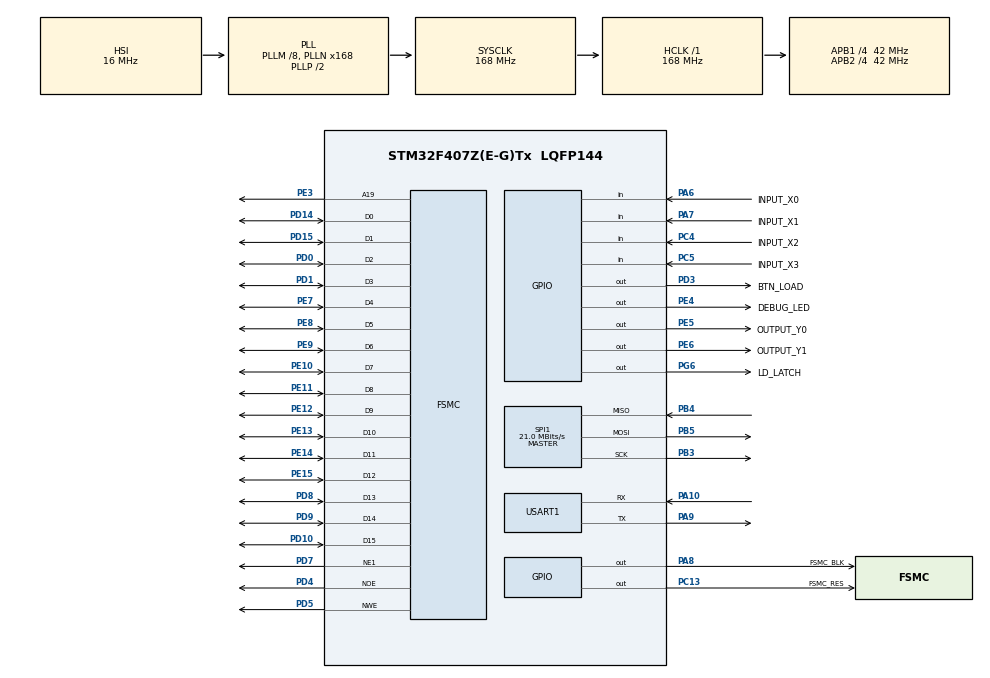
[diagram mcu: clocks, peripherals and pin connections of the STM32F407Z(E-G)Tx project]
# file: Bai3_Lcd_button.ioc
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FSMC.AddressSetupTime1=0xf
FSMC.BusTurnAroundDuration1=0
FSMC.DataSetupTime1=60
FSMC.ExtendedAddressSetupTime1=8
FSMC.ExtendedBusTurnAroundDuration1=0
FSMC.ExtendedDataSetupTime1=9
FSMC.ExtendedMode1=FSMC_EXTENDED_MODE_ENABLE
Mcu.Family=STM32F4
Mcu.Name=STM32F407Z(E-G)Tx
Mcu.Package=LQFP144
NVIC.PriorityGroup=NVIC_PRIORITYGROUP_4
NVIC.TIM2_IRQn=true\:0\:0\:false\:false\:true\:true\:true\:true
NVIC.USART1_IRQn=true\:0\:0\:false\:false\:true\:true\:true\:true
PA10.Mode=Asynchronous
PA10.Signal=USART1_RX
PA13.Mode=Serial_Wire
PA13.Signal=SYS_JTMS-SWDIO
PA14.Mode=Serial_Wire
PA14.Signal=SYS_JTCK-SWCLK
PA6.GPIO_Label=INPUT_X0
PA6.Signal=GPIO_Input
PA7.GPIO_Label=INPUT_X1
PA7.Signal=GPIO_Input
PA8.GPIO_Label=FSMC_BLK
PA8.Signal=GPIO_Output
PA9.Mode=Asynchronous
PA9.Signal=USART1_TX
PB3.Mode=Full_Duplex_Master
PB3.Signal=SPI1_SCK
PB4.Mode=Full_Duplex_Master
PB4.Signal=SPI1_MISO
PB5.Mode=Full_Duplex_Master
PB5.Signal=SPI1_MOSI
PC13-ANTI_TAMP.GPIO_Label=FSMC_RES
PC13-ANTI_TAMP.Signal=GPIO_Output
PC4.GPIO_Label=INPUT_X2
PC4.Signal=GPIO_Input
PC5.GPIO_Label=INPUT_X3
PC5.Signal=GPIO_Input
PD0.Signal=FSMC_D2_DA2
PD1.Signal=FSMC_D3_DA3
PD10.Signal=FSMC_D15_DA15
PD14.Signal=FSMC_D0_DA0
PD15.Signal=FSMC_D1_DA1
PD3.GPIO_Label=BTN_LOAD
PD3.Signal=GPIO_Output
PD4.Signal=FSMC_NOE
PD5.Signal=FSMC_NWE
PD7.Mode=NorPsramChipSelect1_1
PD7.Signal=FSMC_NE1
PD8.Signal=FSMC_D13_DA13
PD9.Signal=FSMC_D14_DA14
PE10.Signal=FSMC_D7_DA7
PE11.Signal=FSMC_D8_DA8
PE12.Signal=FSMC_D9_DA9
PE13.Signal=FSMC_D10_DA10
PE14.Signal=FSMC_D11_DA11
PE15.Signal=FSMC_D12_DA12
PE3.Signal=FSMC_A19
PE4.GPIO_Label=DEBUG_LED
PE4.Signal=GPIO_Output
PE5.GPIO_Label=OUTPUT_Y0
PE5.Signal=GPIO_Output
PE6.GPIO_Label=OUTPUT_Y1
PE6.Signal=GPIO_Output
PE7.Signal=FSMC_D4_DA4
PE8.Signal=FSMC_D5_DA5
PE9.Signal=FSMC_D6_DA6
PG6.GPIO_Label=LD_LATCH
PG6.Signal=GPIO_Output
PH0-OSC_IN.Mode=HSE-External-Oscillator
PH0-OSC_IN.Signal=RCC_OSC_IN
PH1-OSC_OUT.Mode=HSE-External-Oscillator
PH1-OSC_OUT.Signal=RCC_OSC_OUT
ProjectManager.HeapSize=0x200
ProjectManager.StackSize=0x400
ProjectManager.TargetToolchain=STM32CubeIDE
RCC.48MHZClocksFreq_Value=84000000
RCC.AHBFreq_Value=168000000
RCC.APB1CLKDivider=RCC_HCLK_DIV4
RCC.APB1Freq_Value=42000000
RCC.APB1TimFreq_Value=84000000
RCC.APB2CLKDivider=RCC_HCLK_DIV4
RCC.APB2Freq_Value=42000000
RCC.APB2TimFreq_Value=84000000
RCC.CortexFreq_Value=168000000
RCC.HCLKFreq_Value=168000000
RCC.HSE_VALUE=8000000
RCC.HSI_VALUE=16000000
RCC.LSE_VALUE=32768
RCC.PLLM=8
RCC.PLLN=168
RCC.SYSCLKFreq_VALUE=168000000
RCC.SYSCLKSource=RCC_SYSCLKSOURCE_PLLCLK
RCC.VCOOutputFreq_Value=336000000
SH.FSMC_A19.0=FSMC_A19,A19_1
SH.FSMC_D0_DA0.0=FSMC_D0,16b-d1
SH.FSMC_D10_DA10.0=FSMC_D10,16b-d1
SH.FSMC_D11_DA11.0=FSMC_D11,16b-d1
SH.FSMC_D12_DA12.0=FSMC_D12,16b-d1
SH.FSMC_D13_DA13.0=FSMC_D13,16b-d1
SH.FSMC_D14_DA14.0=FSMC_D14,16b-d1
SH.FSMC_D15_DA15.0=FSMC_D15,16b-d1
SH.FSMC_D1_DA1.0=FSMC_D1,16b-d1
SH.FSMC_D2_DA2.0=FSMC_D2,16b-d1
SH.FSMC_D3_DA3.0=FSMC_D3,16b-d1
SH.FSMC_D4_DA4.0=FSMC_D4,16b-d1
SH.FSMC_D5_DA5.0=FSMC_D5,16b-d1
SH.FSMC_D6_DA6.0=FSMC_D6,16b-d1
SH.FSMC_D7_DA7.0=FSMC_D7,16b-d1
SH.FSMC_D8_DA8.0=FSMC_D8,16b-d1
SH.FSMC_D9_DA9.0=FSMC_D9,16b-d1
SH.FSMC_NOE.0=FSMC_NOE,Lcd1
SH.FSMC_NWE.0=FSMC_NWE,Lcd1
SPI1.BaudRatePrescaler=SPI_BAUDRATEPRESCALER_2
SPI1.CalculateBaudRate=21.0 MBits/s
SPI1.Direction=SPI_DIRECTION_2LINES
SPI1.Mode=SPI_MODE_MASTER
SPI1.VirtualType=VM_MASTER
TIM2.Period=100-1
TIM2.Prescaler=840-1
USART1.VirtualMode=VM_ASYNC
VP_TIM2_VS_ClockSourceINT.Mode=Internal
board=custom

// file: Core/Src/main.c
/* USER CODE BEGIN Header */
/**
  ******************************************************************************
  * @file           : main.c
  * @brief          : Main program body
  ******************************************************************************
  * @attention
  *
  * <h2><center>&copy; Copyright (c) 2023 STMicroelectronics.
  * All rights reserved.</center></h2>
  *
  * This software component is licensed by ST under BSD 3-Clause license,
  * the "License"; You may not use this file except in compliance with the
  * License. You may obtain a copy of the License at:
  *                        opensource.org/licenses/BSD-3-Clause
  *
  ******************************************************************************
  */
/* USER CODE END Header */
#include "main.h"
#include "spi.h"
#include "tim.h"
#include "usart.h"
#include "gpio.h"
#include "fsmc.h"

/* USER CODE BEGIN Includes */
#include "software_timer.h"
#include "led_7seg.h"
#include "button.h"
#include "lcd.h"
#include "picture.h"
#include "fsm.h"
#include "fsm_traffic.h"
/* USER CODE END Includes */

void SystemClock_Config(void);
/* USER CODE BEGIN PFP */
void system_init();
void test_LedDebug();
void test_LedY0();
void test_LedY1();
void test_7seg();
void test_button();
void test_lcd();
/* USER CODE END PFP */

int main(void)
{

  /* MCU Configuration--------------------------------------------------------*/

  /* Reset of all peripherals, Initializes the Flash interface and the Systick. */
  HAL_Init();

  /* Configure the system clock */
  SystemClock_Config();

  /* Initialize all configured peripherals */
  MX_GPIO_Init();
  MX_TIM2_Init();
  MX_SPI1_Init();
  MX_FSMC_Init();
  MX_USART1_UART_Init();
  /* USER CODE BEGIN 2 */
  system_init();
  lcd_Clear(WHITE);
  draw_filled_retangle(60, 90);
  draw_filled_retangle(180, 90);
  // test_lcd();

  /* USER CODE END 2 */

  /* Infinite loop */
  /* USER CODE BEGIN WHILE */

  while (1)
  {
	  // while(!flag_timer2);
	  // flag_timer2 = 0;
	  button_Scan();
	  // test_button();
	  set_mode();
	  traffic_lights_operation();
	  //lcd_ShowStr(10, 270, "Period: ", BLUE, WHITE, 16, 1);
	  //lcd_ShowIntNum(70, 270, 10, 2, BRED, WHITE, 16);
    /* USER CODE END WHILE */

  }
}

void SystemClock_Config(void)
{
  RCC_OscInitTypeDef RCC_OscInitStruct = {0};
  RCC_ClkInitTypeDef RCC_ClkInitStruct = {0};

  /** Configure the main internal regulator output voltage
  */
  __HAL_RCC_PWR_CLK_ENABLE();
  __HAL_PWR_VOLTAGESCALING_CONFIG(PWR_REGULATOR_VOLTAGE_SCALE1);
  /** Initializes the RCC Oscillators according to the specified parameters
  * in the RCC_OscInitTypeDef structure.
  */
  RCC_OscInitStruct.OscillatorType = RCC_OSCILLATORTYPE_HSI;
  RCC_OscInitStruct.HSIState = RCC_HSI_ON;
  RCC_OscInitStruct.HSICalibrationValue = RCC_HSICALIBRATION_DEFAULT;
  RCC_OscInitStruct.PLL.PLLState = RCC_PLL_ON;
  RCC_OscInitStruct.PLL.PLLSource = RCC_PLLSOURCE_HSI;
  RCC_OscInitStruct.PLL.PLLM = 8;
  RCC_OscInitStruct.PLL.PLLN = 168;
  RCC_OscInitStruct.PLL.PLLP = RCC_PLLP_DIV2;
  RCC_OscInitStruct.PLL.PLLQ = 4;
  if (HAL_RCC_OscConfig(&RCC_OscInitStruct) != HAL_OK)
  {
    Error_Handler();
  }
  /** Initializes the CPU, AHB and APB buses clocks
  */
  RCC_ClkInitStruct.ClockType = RCC_CLOCKTYPE_HCLK|RCC_CLOCKTYPE_SYSCLK
                              |RCC_CLOCKTYPE_PCLK1|RCC_CLOCKTYPE_PCLK2;
  RCC_ClkInitStruct.SYSCLKSource = RCC_SYSCLKSOURCE_PLLCLK;
  RCC_ClkInitStruct.AHBCLKDivider = RCC_SYSCLK_DIV1;
  RCC_ClkInitStruct.APB1CLKDivider = RCC_HCLK_DIV4;
  RCC_ClkInitStruct.APB2CLKDivider = RCC_HCLK_DIV4;

  if (HAL_RCC_ClockConfig(&RCC_ClkInitStruct, FLASH_LATENCY_5) != HAL_OK)
  {
    Error_Handler();
  }
}

/* USER CODE BEGIN 4 */
void system_init(){
	  HAL_GPIO_WritePin(OUTPUT_Y0_GPIO_Port, OUTPUT_Y0_Pin, 0);
	  HAL_GPIO_WritePin(OUTPUT_Y1_GPIO_Port, OUTPUT_Y1_Pin, 0);
	  HAL_GPIO_WritePin(DEBUG_LED_GPIO_Port, DEBUG_LED_Pin, 0);
	  timer_init();
	  led7_init();
	  button_init();
	  lcd_init();
}

uint8_t count_led_debug = 0;
uint8_t count_led_Y0 = 0;
uint8_t count_led_Y1 = 0;

void set_mode(){
	if (button_count[0] == 1){
		mode_step = (mode_step + 1)%5;
		flag_timer5 = 1;
		if (mode_step == 0) {
			mode_step = 1;
			status0 = 0;
			status1 = 0;
		}
	}
	if (button_count[0] == 0){
		mode = mode_step;
		lcd_ShowStr(10, 10, "Mode: ", RED, BLUE, 16, 1);
		lcd_ShowIntNum(50, 10, mode, 1, BRED, WHITE, 16);
	}
}

void test_LedDebug(){
	count_led_debug = (count_led_debug + 1)%20;
	if(count_led_debug == 0){
		HAL_GPIO_TogglePin(DEBUG_LED_GPIO_Port, DEBUG_LED_Pin);
	}
}

void test_LedY0(){
	count_led_Y0 = (count_led_Y0+ 1)%100;
	if(count_led_Y0 > 40){
		HAL_GPIO_WritePin(OUTPUT_Y0_GPIO_Port, OUTPUT_Y0_Pin, 1);
	} else {
		HAL_GPIO_WritePin(OUTPUT_Y0_GPIO_Port, OUTPUT_Y0_Pin, 0);
	}
}

void test_LedY1(){
	count_led_Y1 = (count_led_Y1+ 1)%40;
	if(count_led_Y1 > 10){
		HAL_GPIO_WritePin(OUTPUT_Y1_GPIO_Port, OUTPUT_Y1_Pin, 0);
	} else {
		HAL_GPIO_WritePin(OUTPUT_Y0_GPIO_Port, OUTPUT_Y1_Pin, 1);
	}
}

void test_7seg(){
	led7_SetDigit(0, 0, 0);
	led7_SetDigit(5, 1, 0);
	led7_SetDigit(4, 2, 0);
	led7_SetDigit(7, 3, 0);
}

void test_button(){
	for(int i = 0; i < 16; i++){
		if(button_count[i] == 1){
			lcd_ShowIntNum(140, 105, i, 2, BRED, WHITE, 32);
		}
	}
}

void test_lcd(){
	lcd_Fill(0, 0, 240, 20, BLUE);
	lcd_StrCenter(0, 2, "Hello World !!!", RED, BLUE, 16, 1);
	lcd_ShowStr(20, 30, "Test lcd screen", WHITE, RED, 24, 0);
	lcd_DrawCircle(60, 120, GREEN, 40, 1);
	lcd_DrawCircle(160, 120, BRED, 40, 0);
	lcd_ShowPicture(80, 200, 90, 90, gImage_logo);
}
/* USER CODE END 4 */

void Error_Handler(void)
{
  __disable_irq();
  while (1)
  {
  }
}

/************************ (C) COPYRIGHT STMicroelectronics *****END OF FILE****/
